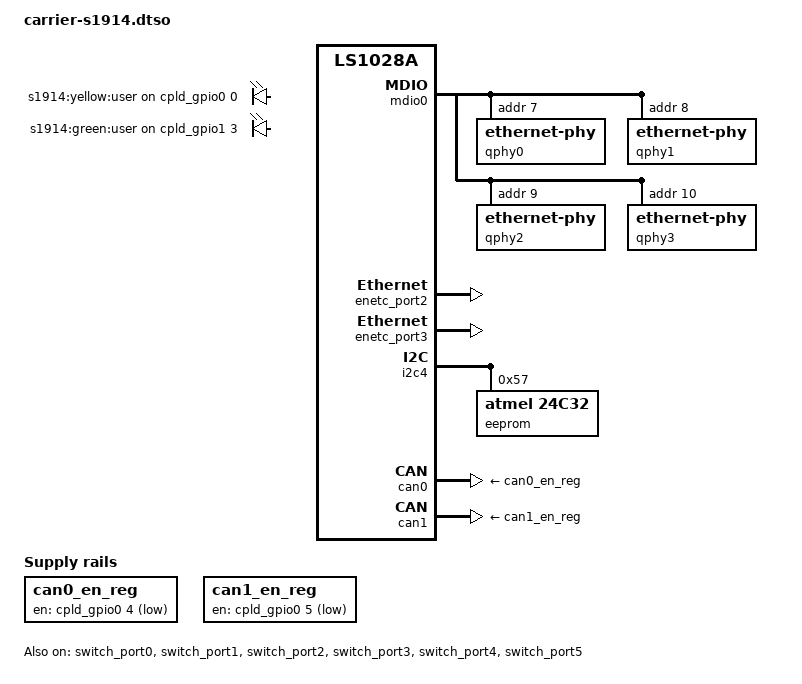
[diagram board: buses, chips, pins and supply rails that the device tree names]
/*
 * Device Tree Include file for Kontron SMARC-sAL28.
 */

/dts-v1/;
/plugin/;

/ {
	compatible = "kontron,sl28", "fsl,ls1028a";

	fragment@0 {
		target-path = "/";
		__overlay__ {
			leds {
				compatible = "gpio-leds";

				user_yellow {
					label = "s1914:yellow:user";
					gpios = <&cpld_gpio0 0 0>;
				};

				user_green {
					label = "s1914:green:user";
					gpios = <&cpld_gpio1 3 0>;
				};
			};

			can0_en_reg: can0-regulator {
				compatible = "regulator-fixed";
				regulator-name = "can0_en";
				gpio = <&cpld_gpio0 4 0>;
			};

			can1_en_reg: can1-regulator {
				compatible = "regulator-fixed";
				regulator-name = "can1_en";
				gpio = <&cpld_gpio0 5 0>;
			};
		};
	};

	fragment@1 {
		target = <&mdio0>;
		__overlay__ {
			#address-cells = <1>;
			#size-cells = <0>;

			qphy0: ethernet-phy@7 {
				reg = <0x7>;
			};

			qphy1: ethernet-phy@8 {
				reg = <0x8>;
			};

			qphy2: ethernet-phy@9 {
				reg = <0x9>;
			};

			qphy3: ethernet-phy@10 {
				reg = <0xa>;
			};
		};
	};

	fragment@2 {
		target = <&enetc_port2>;
		__overlay__ {
			status = "okay";
		};
	};

	fragment@3 {
		target = <&enetc_port3>;
		__overlay__ {
			status = "okay";
		};
	};

	fragment@4 {
		target = <&switch_port0>;
		__overlay__ {
			phy-handle = <&qphy0>;
			phy-connection-type = "qsgmii";
			status = "okay";
		};
	};

	fragment@5 {
		target = <&switch_port1>;
		__overlay__ {
			phy-handle = <&qphy1>;
			phy-connection-type = "qsgmii";
			status = "okay";
		};
	};

	fragment@6 {
		target = <&switch_port2>;
		__overlay__ {
			phy-handle = <&qphy2>;
			phy-connection-type = "qsgmii";
			status = "okay";
		};
	};

	fragment@7 {
		target = <&switch_port3>;
		__overlay__ {
			phy-handle = <&qphy3>;
			phy-connection-type = "qsgmii";
			status = "okay";
		};
	};

	fragment@8 {
		target = <&switch_port4>;
		__overlay__ {
			status = "okay";
		};
	};

	fragment@9 {
		target = <&switch_port5>;
		__overlay__ {
			status = "okay";
		};
	};

	fragment@10 {
		target = <&i2c4>;
		__overlay__ {
			#address-cells = <1>;
			#size-cells = <0>;

			eeprom@57 {
				compatible = "atmel,24c32";
				reg = <0x57>;
			};
		};
	};

	fragment@11 {
		target = <&can0>;
		__overlay__ {
			status = "okay";
			xceiver-supply = <&can0_en_reg>;
		};
	};

	fragment@12 {
		target = <&can1>;
		__overlay__ {
			xceiver-supply = <&can1_en_reg>;
		};
	};
};
